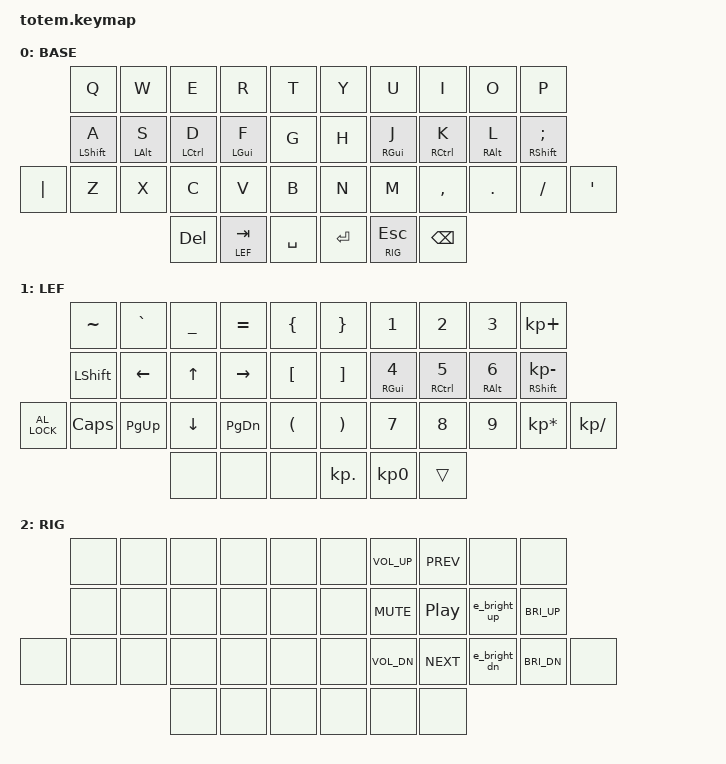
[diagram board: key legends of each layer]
//
//                                                        ▀▀▀▀▀     ▀▀▀▀▀          ▀▀█▀▀
//                                                        ▄▀▀▀▄  ▄  ▄▀▀▀▄  ▄  ▄▀▀▀▄  █  ▄▀▀▀▄
//                                                        █   █  █  █   █  █  █   █  █  █   █
//                                                         ▀▀▀   █   ▀▀▀   █   ▀▀▀   ▀   ▀▀▀
//                                                               █      ▄▄▄█▄▄▄    █   █  
//                                                               ▀      █  █  █     █▄█
//                                                             ▀▀▀▀▀    █  █  █      ▀
//                                                                      ▀  ▀  ▀
//
// ▄▄▄▄▄▄▄▄▄▄▄▄▄▄▄▄▄▄▄▄▄▄▄▄▄▄▄▄▄▄▄▄▄▄▄▄▄▄▄▄▄▄▄▄▄▄▄▄▄▄▄▄▄▄▄▄▄▄▄▄▄▄▄▄▄▄▄▄▄▄▄▄▄▄▄▄▄▄▄▄▄▄▄▄▄▄▄▄▄▄▄▄▄▄▄▄▄▄▄▄▄▄▄▄▄▄▄▄▄▄▄▄▄▄▄▄▄▄▄▄▄▄▄▄▄▄▄▄▄▄▄▄▄▄▄▄▄▄▄▄▄▄▄▄▄▄▄▄▄
       

#include <behaviors.dtsi>
#include <dt-bindings/zmk/keys.h>
#include <dt-bindings/zmk/bt.h>
#include <dt-bindings/zmk/outputs.h>

#define BASE 0
#define LEF 1
#define RIG 2

&mt {
  quick-tap-ms = <100>;
  global-quick-tap;
  flavor = "tap-preferred";
  tapping-term-ms = <170>;
};

/ {
    macros {
        e_bright_up:  e_bright_up {
            label = "ebu";
            compatible = "zmk,behavior-macro";
            #binding-cells = <0>;
            bindings =
                <&macro_press &kp LCTRL>
                , <&macro_tap &kp C_BRI_UP>
                , <&macro_release &kp LCTRL>
                ;
        };
        e_bright_dn:  e_bright_dn {
            label = "ebd";
            compatible = "zmk,behavior-macro";
            #binding-cells = <0>;
            bindings =
                <&macro_press &kp LCTRL>
                , <&macro_tap &kp C_BRI_DN>
                , <&macro_release &kp LCTRL>
                ;
        };
    };

    keymap {
        compatible = "zmk,keymap";
// ▄▄▄▄▄▄▄▄▄▄▄▄▄▄▄▄▄▄▄▄▄▄▄▄▄▄▄▄▄▄▄▄▄▄▄▄▄▄▄▄▄▄▄▄▄▄▄▄▄▄▄▄▄▄▄▄▄▄▄▄▄▄▄▄▄▄▄▄▄▄▄▄▄▄▄▄▄▄▄▄▄▄▄▄▄▄▄▄▄▄▄▄▄▄▄▄▄▄▄▄▄▄▄▄▄▄▄▄▄▄▄▄▄▄▄▄▄▄▄▄▄▄▄▄▄▄▄▄▄▄▄▄▄▄▄▄▄▄▄▄▄▄▄▄▄▄▄▄▄

base_layer {
// ┏━━━━━━━━━━━━━━━━━━━━━━━━━━━━━━━━━━━━━━━┓
    label= "BASE"                          ;
// ┗━━━━━━━━━━━━━━━━━━━━━━━━━━━━━━━━━━━━━━━┛
    bindings = <
//             ┏━━━━━━━━━━━┳━━━━━━━━━━━┳━━━━━━━━━━━┳━━━━━━━━━━━┳━━━━━━━━━━━┓   ┏━━━━━━━━━━━┳━━━━━━━━━━━┳━━━━━━━━━━━┳━━━━━━━━━━━┳━━━━━━━━━━━┓
//             ┃     Q     ┃     W     ┃     E     ┃     R     ┃     T     ┃   ┃     Y     ┃     U     ┃     I     ┃     O     ┃     P     ┃
                    &kp Q       &kp W       &kp E       &kp R       &kp T           &kp Y       &kp U       &kp I       &kp O       &kp P
//             ┣━━━━━━━━━━━╋━━━━━━━━━━━╋━━━━━━━━━━━╋━━━━━━━━━━━╋━━━━━━━━━━━┫   ┣━━━━━━━━━━━╋━━━━━━━━━━━╋━━━━━━━━━━━╋━━━━━━━━━━━╋━━━━━━━━━━━┫
//             ┃     A     ┃     S     ┃     D     ┃     F     ┃     G     ┃   ┃     H     ┃     J     ┃     K     ┃     L     ┃     ; :   ┃
                &mt LSHFT A  &mt LALT S &mt LCTRL D  &mt LGUI F    &kp G           &kp H    &mt RGUI J  &mt RCTRL K &mt RALT L  &mt RSHFT SEMI
// ┏━━━━━━━━━━━╋━━━━━━━━━━━╋━━━━━━━━━━━╋━━━━━━━━━━━╋━━━━━━━━━━━╋━━━━━━━━━━━┫   ┣━━━━━━━━━━━╋━━━━━━━━━━━╋━━━━━━━━━━━╋━━━━━━━━━━━╋━━━━━━━━━━━╋━━━━━━━━━━━┓
// ┃    | \    ┃     Z     ┃     X     ┃     C     ┃     V     ┃     B     ┃   ┃     N     ┃     M     ┃    , <    ┃     . >   ┃     / ?   ┃    ' "    ┃
       &kp PIPE    &kp Z       &kp X       &kp C       &kp V       &kp B           &kp N       &kp M      &kp COMMA   &kp DOT     &kp FSLH    &kp SQT
// ┗━━━━━━━━━━━┻━━━━━━━━━━━┻━━━━━━━━━━━╋━━━━━━━━━━━╋━━━━━━━━━━━╋━━━━━━━━━━━┫   ┣━━━━━━━━━━━╋━━━━━━━━━━━╋━━━━━━━━━━━╋━━━━━━━━━━━┻━━━━━━━━━━━┻━━━━━━━━━━━┛
//                                     ┃    DEL    ┃    TAB    ┃    SPC    ┃   ┃   ENTER   ┃    ESC    ┃    BSPC   ┃
                                         &kp DEL   &lt LEF TAB  &kp SPACE         &kp RET  &lt RIG ESC   &kp BSPC
//                                     ┗━━━━━━━━━━━┻━━━━━━━━━━━┻━━━━━━━━━━━┛   ┗━━━━━━━━━━━┻━━━━━━━━━━━┻━━━━━━━━━━━┛
    >;
};

// ▄▄▄▄▄▄▄▄▄▄▄▄▄▄▄▄▄▄▄▄▄▄▄▄▄▄▄▄▄▄▄▄▄▄▄▄▄▄▄▄▄▄▄▄▄▄▄▄▄▄▄▄▄▄▄▄▄▄▄▄▄▄▄▄▄▄▄▄▄▄▄▄▄▄▄▄▄▄▄▄▄▄▄▄▄▄▄▄▄▄▄▄▄▄▄▄▄▄▄▄▄▄▄▄▄▄▄▄▄▄▄▄▄▄▄▄▄▄▄▄▄▄▄▄▄▄▄▄▄▄▄▄▄▄▄▄▄▄▄▄▄▄▄▄▄▄▄▄▄


num_symbol_nav {
// ┏━━━━━━━━━━━━━━━━━━━━━━━━━━━━━━━━━━━━━━━┓
    label= "LEF"                           ;
// ┗━━━━━━━━━━━━━━━━━━━━━━━━━━━━━━━━━━━━━━━┛
    bindings = <
//             ┏━━━━━━━━━━━┳━━━━━━━━━━━┳━━━━━━━━━━━┳━━━━━━━━━━━┳━━━━━━━━━━━┓   ┏━━━━━━━━━━━┳━━━━━━━━━━━┳━━━━━━━━━━━┳━━━━━━━━━━━┳━━━━━━━━━━━┓
//             ┃     ~     ┃     `     ┃     _     ┃     =     ┃     {     ┃   ┃     }     ┃     1     ┃     2     ┃     3     ┃     +     ┃
                 &kp TILDE    &kp GRAVE   &kp UNDER   &kp EQUAL   &kp LBRC        &kp RBRC      &kp N1      &kp N2      &kp N3   &kp KP_PLUS
//             ┣━━━━━━━━━━━╋━━━━━━━━━━━╋━━━━━━━━━━━╋━━━━━━━━━━━╋━━━━━━━━━━━┫   ┣━━━━━━━━━━━╋━━━━━━━━━━━╋━━━━━━━━━━━╋━━━━━━━━━━━╋━━━━━━━━━━━┫
//             ┃   SHIFT   ┃   LEFT    ┃    UP     ┃   RIGHT   ┃     [     ┃   ┃     ]     ┃     4     ┃     5     ┃     6     ┃     -     ┃
                &kp LSHFT    &kp LEFT     &kp UP    &kp RIGHT    &kp LBKT        &kp RBKT   &mt RGUI N4 &mt RCTRL N5 &mt RALT N6 &mt RSHFT KP_MINUS
// ┏━━━━━━━━━━━╋━━━━━━━━━━━╋━━━━━━━━━━━╋━━━━━━━━━━━╋━━━━━━━━━━━╋━━━━━━━━━━━┫   ┣━━━━━━━━━━━╋━━━━━━━━━━━╋━━━━━━━━━━━╋━━━━━━━━━━━╋━━━━━━━━━━━╋━━━━━━━━━━━┓
// ┃   S Lock  ┃  C LOCK   ┃  PAGE UP  ┃   DOWN    ┃ PAGE DOWN ┃     (     ┃   ┃     )     ┃     7     ┃     8     ┃     9     ┃     *     ┃     /     ┃
    &kp C_AL_LOCK &kp CAPS    &kp PG_UP   &kp DOWN    &kp PG_DN   &kp LPAR        &kp RPAR      &kp N7      &kp N8      &kp N9  &kp KP_MULTIPLY &kp KP_DIVIDE      
// ┗━━━━━━━━━━━┻━━━━━━━━━━━┻━━━━━━━━━━━╋━━━━━━━━━━━╋━━━━━━━━━━━╋━━━━━━━━━━━┫   ┣━━━━━━━━━━━╋━━━━━━━━━━━╋━━━━━━━━━━━╋━━━━━━━━━━━┻━━━━━━━━━━━┻━━━━━━━━━━━┛
//                                     ┃           ┃           ┃           ┃   ┃     .     ┃     0     ┃    BSPC   ┃
                                           &none       &none       &none         &kp KP_DOT  &kp KP_N0     &trans     
//                                     ┗━━━━━━━━━━━┻━━━━━━━━━━━┻━━━━━━━━━━━┛   ┗━━━━━━━━━━━┻━━━━━━━━━━━┻━━━━━━━━━━━┛
    >;
};

// ▄▄▄▄▄▄▄▄▄▄▄▄▄▄▄▄▄▄▄▄▄▄▄▄▄▄▄▄▄▄▄▄▄▄▄▄▄▄▄▄▄▄▄▄▄▄▄▄▄▄▄▄▄▄▄▄▄▄▄▄▄▄▄▄▄▄▄▄▄▄▄▄▄▄▄▄▄▄▄▄▄▄▄▄▄▄▄▄▄▄▄▄▄▄▄▄▄▄▄▄▄▄▄▄▄▄▄▄▄▄▄▄▄▄▄▄▄▄▄▄▄▄▄▄▄▄▄▄▄▄▄▄▄▄▄▄▄▄▄▄▄▄▄▄▄▄▄▄▄


adjust_layer {
// ┏━━━━━━━━━━━━━━━━━━━━━━━━━━━━━━━━━━━━━━━┓
    label= "RIG"                           ;
// ┗━━━━━━━━━━━━━━━━━━━━━━━━━━━━━━━━━━━━━━━┛
    bindings = <
//             ┏━━━━━━━━━━━┳━━━━━━━━━━━┳━━━━━━━━━━━┳━━━━━━━━━━━┳━━━━━━━━━━━┓   ┏━━━━━━━━━━━┳━━━━━━━━━━━┳━━━━━━━━━━━┳━━━━━━━━━━━┳━━━━━━━━━━━┓
//             ┃           ┃           ┃           ┃           ┃           ┃   ┃           ┃    VOL+   ┃    PREV   ┃           ┃           ┃
                   &none       &none       &none       &none       &none           &none    &kp C_VOL_UP &kp C_PREV    &none       &none       
//             ┣━━━━━━━━━━━╋━━━━━━━━━━━╋━━━━━━━━━━━╋━━━━━━━━━━━╋━━━━━━━━━━━┫   ┣━━━━━━━━━━━╋━━━━━━━━━━━╋━━━━━━━━━━━╋━━━━━━━━━━━╋━━━━━━━━━━━┫
//             ┃           ┃           ┃           ┃           ┃           ┃   ┃           ┃    MUTE   ┃ PLAY_PAUSE┃E BRIGHT UP┃ BRIGHT UP ┃
                   &none       &none       &none       &none       &none           &none     &kp C_MUTE   &kp C_PP  &e_bright_up &kp C_BRI_UP 
// ┏━━━━━━━━━━━╋━━━━━━━━━━━╋━━━━━━━━━━━╋━━━━━━━━━━━╋━━━━━━━━━━━╋━━━━━━━━━━━┫   ┣━━━━━━━━━━━╋━━━━━━━━━━━╋━━━━━━━━━━━╋━━━━━━━━━━━╋━━━━━━━━━━━╋━━━━━━━━━━━┓
// ┃           ┃           ┃           ┃           ┃           ┃           ┃   ┃           ┃    VOL-   ┃    NEXT   ┃E BRIGHT DN┃ BRIGHT DN ┃           ┃
      &none        &none        &none      &none       &none       &none           &none   &kp C_VOL_DN &kp C_NEXT  &e_bright_dn &kp C_BRI_DN  &none 
// ┗━━━━━━━━━━━┻━━━━━━━━━━━┻━━━━━━━━━━━╋━━━━━━━━━━━╋━━━━━━━━━━━╋━━━━━━━━━━━┫   ┣━━━━━━━━━━━╋━━━━━━━━━━━╋━━━━━━━━━━━╋━━━━━━━━━━━┻━━━━━━━━━━━┻━━━━━━━━━━━┛
//                                     ┃           ┃           ┃           ┃   ┃           ┃           ┃           ┃
                                           &none       &none       &none          &none       &none        &none     
//                                     ┗━━━━━━━━━━━┻━━━━━━━━━━━┻━━━━━━━━━━━┛   ┗━━━━━━━━━━━┻━━━━━━━━━━━┻━━━━━━━━━━━┛
    >;
};
    };
};
